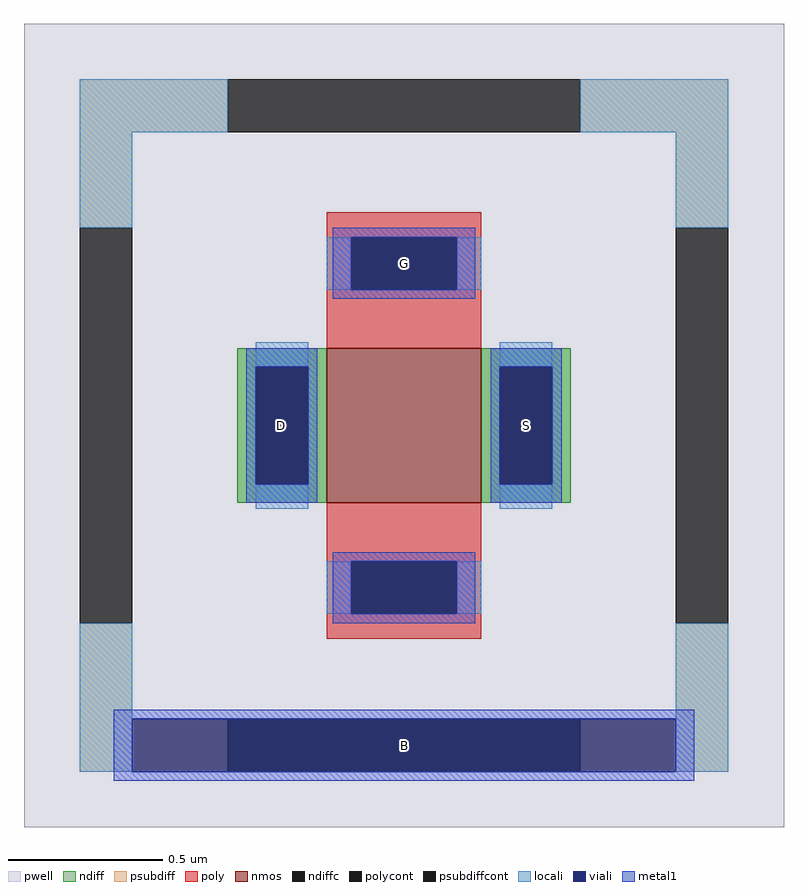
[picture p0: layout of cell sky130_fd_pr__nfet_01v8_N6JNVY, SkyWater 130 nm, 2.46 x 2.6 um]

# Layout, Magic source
magic
tech sky130A
magscale 1 2
<< pwell >>
rect -246 -260 246 260
<< nmos >>
rect -50 -50 50 50
<< ndiff >>
rect -108 38 -50 50
rect -108 -38 -96 38
rect -62 -38 -50 38
rect -108 -50 -50 -38
rect 50 38 108 50
rect 50 -38 62 38
rect 96 -38 108 38
rect 50 -50 108 -38
<< ndiffc >>
rect -96 -38 -62 38
rect 62 -38 96 38
<< psubdiff >>
rect -210 190 -114 224
rect 114 190 210 224
rect -210 128 -176 190
rect 176 128 210 190
rect -210 -190 -176 -128
rect 176 -190 210 -128
rect -210 -224 -114 -190
rect 114 -224 210 -190
<< psubdiffcont >>
rect -114 190 114 224
rect -210 -128 -176 128
rect 176 -128 210 128
rect -114 -224 114 -190
<< poly >>
rect -50 122 50 138
rect -50 88 -34 122
rect 34 88 50 122
rect -50 50 50 88
rect -50 -88 50 -50
rect -50 -122 -34 -88
rect 34 -122 50 -88
rect -50 -138 50 -122
<< polycont >>
rect -34 88 34 122
rect -34 -122 34 -88
<< locali >>
rect -210 190 -114 224
rect 114 190 210 224
rect -210 128 -176 190
rect 176 128 210 190
rect -50 88 -34 122
rect 34 88 50 122
rect -96 38 -62 54
rect -96 -54 -62 -38
rect 62 38 96 54
rect 62 -54 96 -38
rect -50 -122 -34 -88
rect 34 -122 50 -88
rect -210 -224 -176 -128
rect 176 -224 210 -128
<< viali >>
rect -34 88 34 122
rect -96 -38 -62 38
rect 62 -38 96 38
rect -34 -122 34 -88
rect -176 -224 -114 -190
rect -114 -224 114 -190
rect 114 -224 176 -190
<< metal1 >>
rect -46 122 46 128
rect -46 88 -34 122
rect 34 88 46 122
rect -46 82 46 88
rect -102 38 -56 50
rect -102 -38 -96 38
rect -62 -38 -56 38
rect -102 -50 -56 -38
rect 56 38 102 50
rect 56 -38 62 38
rect 96 -38 102 38
rect 56 -50 102 -38
rect -46 -88 46 -82
rect -46 -122 -34 -88
rect 34 -122 46 -88
rect -46 -128 46 -122
rect -188 -190 188 -184
rect -188 -224 -176 -190
rect 176 -224 188 -190
rect -188 -230 188 -224
<< labels >>
rlabel psubdiffcont 0 -207 0 -207 0 B
port 17 nsew
rlabel ndiffc -79 0 -79 0 0 D
port 18 nsew
rlabel ndiffc 79 0 79 0 0 S
port 19 nsew
rlabel polycont 0 105 0 105 0 G
port 20 nsew
<< properties >>
string FIXED_BBOX -193 -207 193 207
string gencell sky130_fd_pr__nfet_01v8
string library sky130
string parameters w 0.5 l 0.5 m 1 nf 1 diffcov 100 polycov 100 guard 1 glc 1 grc 1 gtc 1 gbc 1 tbcov 100 rlcov 100 topc 1 botc 1 poverlap 0 doverlap 1 lmin 0.15 wmin 0.42 class mosfet compatible {sky130_fd_pr__nfet_01v8 sky130_fd_pr__nfet_01v8_lvt  sky130_fd_bs_flash__special_sonosfet_star  sky130_fd_pr__nfet_g5v0d10v5 sky130_fd_pr__nfet_05v0_nvt  sky130_fd_pr__nfet_03v3_nvt} full_metal 1 conn_gates 0 viasrc 100 viadrn 100 viagate 100 viagb 100 viagr 0 viagl 0 viagt 0 doports 1
<< end >>
